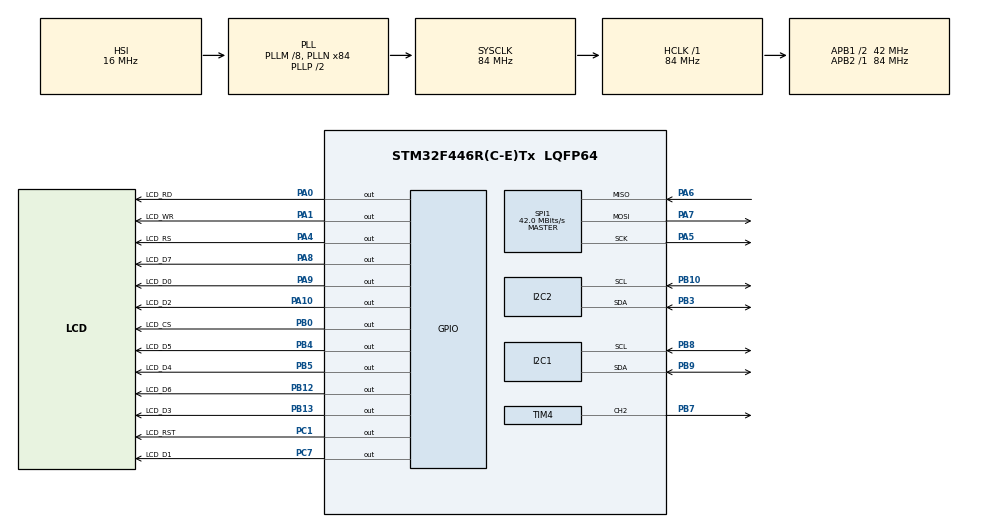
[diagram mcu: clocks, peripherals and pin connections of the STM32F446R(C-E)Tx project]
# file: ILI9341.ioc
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Dma.Request0=TIM4_CH2
Dma.TIM4_CH2.0.Direction=DMA_MEMORY_TO_PERIPH
Dma.TIM4_CH2.0.FIFOMode=DMA_FIFOMODE_DISABLE
Dma.TIM4_CH2.0.Instance=DMA1_Stream3
Dma.TIM4_CH2.0.MemDataAlignment=DMA_MDATAALIGN_HALFWORD
Dma.TIM4_CH2.0.MemInc=DMA_MINC_ENABLE
Dma.TIM4_CH2.0.Mode=DMA_NORMAL
Dma.TIM4_CH2.0.PeriphDataAlignment=DMA_PDATAALIGN_HALFWORD
Dma.TIM4_CH2.0.PeriphInc=DMA_PINC_DISABLE
Dma.TIM4_CH2.0.Priority=DMA_PRIORITY_LOW
I2C2.DualAddressMode=I2C_DUALADDRESS_DISABLE
I2C2.OwnAddress=0x09
Mcu.Family=STM32F4
Mcu.Name=STM32F446R(C-E)Tx
Mcu.Package=LQFP64
NVIC.DMA1_Stream3_IRQn=true\:0\:0\:false\:false\:true\:false\:true\:true
NVIC.I2C2_ER_IRQn=true\:0\:0\:false\:false\:true\:true\:true\:true
NVIC.I2C2_EV_IRQn=true\:0\:0\:false\:false\:true\:true\:true\:true
NVIC.PriorityGroup=NVIC_PRIORITYGROUP_4
PA0-WKUP.GPIO_Label=LCD_RD
PA0-WKUP.GPIO_Speed=GPIO_SPEED_FREQ_HIGH
PA0-WKUP.Signal=GPIO_Output
PA1.GPIO_Label=LCD_WR
PA1.GPIO_Speed=GPIO_SPEED_FREQ_HIGH
PA1.Signal=GPIO_Output
PA10.GPIO_Label=LCD_D2
PA10.GPIO_Speed=GPIO_SPEED_FREQ_HIGH
PA10.Signal=GPIO_Output
PA13.Mode=Serial_Wire
PA13.Signal=SYS_JTMS-SWDIO
PA14.Mode=Serial_Wire
PA14.Signal=SYS_JTCK-SWCLK
PA4.GPIO_Label=LCD_RS
PA4.GPIO_Speed=GPIO_SPEED_FREQ_HIGH
PA4.Signal=GPIO_Output
PA5.Mode=Full_Duplex_Master
PA5.Signal=SPI1_SCK
PA6.Mode=Full_Duplex_Master
PA6.Signal=SPI1_MISO
PA7.Mode=Full_Duplex_Master
PA7.Signal=SPI1_MOSI
PA8.GPIO_Label=LCD_D7
PA8.GPIO_Speed=GPIO_SPEED_FREQ_HIGH
PA8.Signal=GPIO_Output
PA9.GPIO_Label=LCD_D0
PA9.GPIO_Speed=GPIO_SPEED_FREQ_HIGH
PA9.Signal=GPIO_Output
PB0.GPIO_Label=LCD_CS
PB0.GPIO_Speed=GPIO_SPEED_FREQ_HIGH
PB0.Signal=GPIO_Output
PB10.GPIO_Pu=GPIO_PULLUP
PB10.GPIO_Speed=GPIO_SPEED_FREQ_VERY_HIGH
PB10.Mode=I2C
PB10.Signal=I2C2_SCL
PB12.GPIO_Label=LCD_D6
PB12.Signal=GPIO_Output
PB13.GPIO_Label=LCD_D3
PB13.Signal=GPIO_Output
PB3.GPIO_Pu=GPIO_PULLUP
PB3.GPIO_Speed=GPIO_SPEED_FREQ_VERY_HIGH
PB3.Mode=I2C
PB3.Signal=I2C2_SDA
PB4.GPIO_Label=LCD_D5
PB4.GPIO_Speed=GPIO_SPEED_FREQ_HIGH
PB4.Signal=GPIO_Output
PB5.GPIO_Label=LCD_D4
PB5.GPIO_Speed=GPIO_SPEED_FREQ_HIGH
PB5.Signal=GPIO_Output
PB7.Signal=S_TIM4_CH2
PB8.GPIO_Pu=GPIO_PULLUP
PB8.GPIO_Speed=GPIO_SPEED_FREQ_HIGH
PB8.Mode=I2C
PB8.Signal=I2C1_SCL
PB9.GPIO_Pu=GPIO_PULLUP
PB9.GPIO_Speed=GPIO_SPEED_FREQ_HIGH
PB9.Mode=I2C
PB9.Signal=I2C1_SDA
PC1.GPIO_Label=LCD_RST
PC1.GPIO_Speed=GPIO_SPEED_FREQ_HIGH
PC1.Signal=GPIO_Output
PC7.GPIO_Label=LCD_D1
PC7.GPIO_Speed=GPIO_SPEED_FREQ_HIGH
PC7.Signal=GPIO_Output
PH0-OSC_IN.Mode=HSE-External-Oscillator
PH0-OSC_IN.Signal=RCC_OSC_IN
PH1-OSC_OUT.Mode=HSE-External-Oscillator
PH1-OSC_OUT.Signal=RCC_OSC_OUT
ProjectManager.HeapSize=0x200
ProjectManager.StackSize=0x400
ProjectManager.TargetToolchain=STM32CubeIDE
RCC.AHBFreq_Value=84000000
RCC.APB1CLKDivider=RCC_HCLK_DIV2
RCC.APB1Freq_Value=42000000
RCC.APB1TimFreq_Value=84000000
RCC.APB2Freq_Value=84000000
RCC.APB2TimFreq_Value=84000000
RCC.CortexFreq_Value=84000000
RCC.HCLKFreq_Value=84000000
RCC.PLLM=8
RCC.PLLN=84
RCC.SYSCLKFreq_VALUE=84000000
RCC.SYSCLKSource=RCC_SYSCLKSOURCE_PLLCLK
RCC.USBFreq_Value=84000000
RCC.VCOOutputFreq_Value=168000000
SH.S_TIM4_CH2.0=TIM4_CH2,PWM Generation2 CH2
SPI1.CalculateBaudRate=42.0 MBits/s
SPI1.Direction=SPI_DIRECTION_2LINES
SPI1.Mode=SPI_MODE_MASTER
SPI1.VirtualType=VM_MASTER
TIM4.Channel-PWM\ Generation2\ CH2=TIM_CHANNEL_2
TIM4.Period=104
VP_TIM1_VS_ClockSourceINT.Mode=Internal
board=custom

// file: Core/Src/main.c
/* USER CODE BEGIN Header */
/**
 ******************************************************************************
 * @file           : main.c
 * @brief          : Main program body
 ******************************************************************************
 * @attention
 *
 * Copyright (c) 2024 STMicroelectronics.
 * All rights reserved.
 *
 * This software is licensed under terms that can be found in the LICENSE file
 * in the root directory of this software component.
 * If no LICENSE file comes with this software, it is provided AS-IS.
 *
 ******************************************************************************
 */
/* USER CODE END Header */
#include "main.h"

/* USER CODE BEGIN Includes */
#include "ili9341.h"
#include "Bitmaps.h"

#include "parqueo.h"
#include "mpr121.h"

#include "neopixel.h"
/* USER CODE END Includes */

/* USER CODE BEGIN PD */

#define PARQUEO_MODO_DEMO 0

/* USER CODE END PD */

I2C_HandleTypeDef hi2c1;
I2C_HandleTypeDef hi2c2;

SPI_HandleTypeDef hspi1;

TIM_HandleTypeDef htim1;
TIM_HandleTypeDef htim4;
DMA_HandleTypeDef hdma_tim4_ch2;

/* USER CODE BEGIN PV */
extern uint16_t fondo[];

extern uint16_t fondoPinguin[];

uint32_t ultimo_sensor = 0;

uint8_t estables[4] = {0};
uint8_t consecutivas[4] = {0};

volatile uint8_t mpr_direccion = 0;
volatile uint8_t mpr_init = 255;
volatile uint8_t mpr_bits = 0;
volatile uint8_t mpr_ecr = 0;

volatile uint32_t mpr_ok = 0;
volatile uint32_t mpr_fallos = 0;
volatile uint32_t mpr_error = 0;

volatile uint8_t prueba_etapa = 0;

volatile uint8_t resultado_scan[4] = {
    255, 255, 255, 255
};

volatile uint32_t error_scan[4] = {0};

volatile uint32_t estado_i2c = 0;

/* ==========================================
 * COMUNICACION I2C2 CON ESP32 MAESTRO
 * Direccion del TFT: 0x09
 * ========================================== */

// Mis cuatro sensores MPR121: P5-P8
volatile uint8_t grupoB_local = 0x00;

// Datos recibidos del ESP32: P1-P4
volatile uint8_t grupoA_recibido = 0x00;

// Banderas de comunicacion
volatile uint8_t i2c2_rx_valido = 0;
volatile uint8_t i2c2_rearmar = 0;

// Buffers de transmision y recepcion
static uint8_t i2c2_tx_byte = 0x00;
static uint8_t i2c2_rx_byte = 0x00;

// Variables de diagnostico
volatile uint32_t i2c2_error = 0;
volatile uint32_t i2c2_tx_count = 0;
volatile uint32_t i2c2_rx_count = 0;

volatile uint32_t i2c2_listen_status = 0xFFFFFFFF;

/* USER CODE END PV */

void SystemClock_Config(void);
static void MX_GPIO_Init(void);
static void MX_DMA_Init(void);
static void MX_SPI1_Init(void);
static void MX_I2C1_Init(void);
static void MX_TIM1_Init(void);
static void MX_TIM4_Init(void);
static void MX_I2C2_Init(void);

int main(void)
{

  /* MCU Configuration--------------------------------------------------------*/

  /* Reset of all peripherals, Initializes the Flash interface and the Systick. */
  HAL_Init();

  /* Configure the system clock */
  SystemClock_Config();

  /* Initialize all configured peripherals */
  MX_GPIO_Init();
  MX_DMA_Init();
  MX_SPI1_Init();
  MX_I2C1_Init();
  MX_TIM1_Init();
  MX_TIM4_Init();
  MX_I2C2_Init();
  /* USER CODE BEGIN 2 */

  HAL_Delay(200);

  // Escaneo I2C solo para verificar que el sensor está presente
  for (uint8_t i = 0; i < 4; i++)
  {
      uint8_t addr = 0x5A + i;

      HAL_StatusTypeDef estado =
          HAL_I2C_IsDeviceReady(&hi2c1, addr << 1, 2, 100);

      resultado_scan[i] = estado;
      error_scan[i] = HAL_I2C_GetError(&hi2c1);

      if (estado == HAL_OK)
      {
          mpr_direccion = addr;
          break;
      }
  }

  estado_i2c = HAL_I2C_GetState(&hi2c1);

  // Inicializar MPR121 si fue encontrado
  if (mpr_direccion == 0x5A)
  {
      mpr_init = MPR121_Init(&hi2c1);
  }
  else
  {
      mpr_init = 254;   // no encontrado
  }

  LCD_Init();
  Parqueo_Init(0);
  NeoPixel_Init();

  // Activar I2C2 como esclavo del ESP32
  i2c2_listen_status = HAL_I2C_EnableListen_IT(&hi2c2);

  if (i2c2_listen_status != HAL_OK)
  {
      i2c2_error = HAL_I2C_GetError(&hi2c2);
      Error_Handler();
  }

  HAL_Delay(200);

  // Escaneo I2C solo para verificar que el sensor está presente
  for (uint8_t i = 0; i < 4; i++)
  {
      uint8_t addr = 0x5A + i;

      HAL_StatusTypeDef estado =
          HAL_I2C_IsDeviceReady(&hi2c1, addr << 1, 2, 100);

      resultado_scan[i] = estado;
      error_scan[i] = HAL_I2C_GetError(&hi2c1);

      if (estado == HAL_OK)
      {
          mpr_direccion = addr;
          break;
      }
  }

  estado_i2c = HAL_I2C_GetState(&hi2c1);

  // Inicializar MPR121 si fue encontrado
  if (mpr_direccion == 0x5A)
  {
      mpr_init = MPR121_Init(&hi2c1);
  }
  else
  {
      mpr_init = 254;   // no encontrado
  }

  LCD_Init();
  Parqueo_Init(0);
  NeoPixel_Init();
//  NeoPixel_SetEstado(1, 1);
//  NeoPixel_SetEstado(2, 1);
//  NeoPixel_SetEstado(3, 1);
//  NeoPixel_SetEstado(4, 1);

  /* USER CODE END 2 */

  /* Infinite loop */
  /* USER CODE BEGIN WHILE */
	while (1) {

		 // Recuperar escucha I2C2 si ocurrió un error
		    if (i2c2_rearmar)
		    {
		        i2c2_rearmar = 0;

		        i2c2_listen_status = HAL_I2C_EnableListen_IT(&hi2c2);

		        if (i2c2_listen_status != HAL_OK)
		        {
		            i2c2_rearmar = 1;
		        }
		    }

		    // Leer sensores locales del MPR121
		    if (mpr_init == HAL_OK && HAL_GetTick() - ultimo_sensor >= 50)
		Parqueo_Update();
		    HAL_Delay(10);

		if (mpr_init == HAL_OK && HAL_GetTick() - ultimo_sensor >= 50)
		    {
		        ultimo_sensor = HAL_GetTick();

		        uint8_t lectura = 0;

		        if (MPR121_Leer4(&hi2c1, &lectura) == HAL_OK)
		        {
		            mpr_bits = lectura;
		            mpr_ok++;

		            // Guardar los cuatro sensores locales P5-P8
		            grupoB_local = lectura & 0x0F;
		            for (uint8_t i = 0; i < 4; i++)
		            {
		                uint8_t nuevo = (lectura >> i) & 1;
		                Parqueo_SetOcupado(i + 1, nuevo);
		            }
		        }
		        else
		        {
		            mpr_fallos++;
		            mpr_ecr = HAL_I2C_GetError(&hi2c1);
		        }
		    }

		    // Actualizar los ocho parqueos
		    Parqueo_ActualizarGrupos(grupoA_recibido, grupoB_local);

		    // Actualizar pantalla y NeoPixels
		    Parqueo_Update();
		    NeoPixel_Update();

		    Parqueo_Update();

		    NeoPixel_Update();
		    HAL_Delay(10);

    /* USER CODE END WHILE */

    /* USER CODE BEGIN 3 */

//
//				for (int x = 0; x < 319-42; x++) {
//					int anim = (x/10)%4;
//					// anim 0 1 2 3
//					LCD_Sprite(x, 116-29, 42, 29, link, 4, anim, 0, 0);
//					//V_line( x -1, 100, 50, 0x0DFE);
//					HAL_Delay(15);
//
//				}
//				for (int var = 319-24; var > 0;  var--) {
//					int anim = (var / 10) % 4;
//					LCD_Sprite(var, 100, 24, 30, sonics, 4, anim, 1, 0);
//					V_line(var + 24, 100, 30, 0x0DFE);
//					HAL_Delay(15);
//				}
//
//		for (int x = 0; x < 319-24; x++) {
//			int anim = (x/10)%4;
//			// anim 0 1 2 3
//			LCD_Sprite(x, 100, 24, 30, sonics, 4, anim, 0, 0);
//			V_line( x -1, 100, 30, 0x0DFE);
//			HAL_Delay(15);
//
//		}
//		for (int var = 319-24; var > 0;  var--) {
//			int anim = (var / 10) % 4;
//			LCD_Sprite(var, 100, 24, 30, sonics, 4, anim, 1, 0);
//			V_line(var + 24, 100, 30, 0x0DFE);
//			HAL_Delay(15);
//		}

//		for (int var = 0; var < 319-26;  var++) {
//			 int anim = (var / 5) % 4;
//			LCD_Sprite(var,100,26,16,link,4,anim,0,0);
//			V_line( var -1, 100, 16, 0x4d9e);
//			 HAL_Delay(15);
//		}
//		for (int var = 319-26; var > 0;  var--) {
//					 int anim = (var / 5) % 4;
//					LCD_Sprite(var,100,26,16,link,4,anim,1,0);
//					V_line( var +27, 100, 16, 0x4d9e);
//					 HAL_Delay(15);
//				}
//
//		for (int x = 0; x < 320 - 16; x++) {
//		    int anim2 = (x / 10) % 4;
//		    LCD_Sprite(x,100,16,16,kirbys,4,anim2,0,0);
//		    V_line( x -1, 100, 16, 0x74DA);
//		    HAL_Delay(15);
//		  }
//		  for (int x = 320-16; x > 0; x--) {
//		    int anim2 = (x / 10) % 4;
//		    LCD_Sprite(x,100,16,16,kirbys,4,anim2,1,0);
//		    V_line( x +16, 100, 16, 0x74DA);
//		    HAL_Delay(15);
//		  }

	}
  /* USER CODE END 3 */
}

void SystemClock_Config(void)
{
  RCC_OscInitTypeDef RCC_OscInitStruct = {0};
  RCC_ClkInitTypeDef RCC_ClkInitStruct = {0};

  /** Configure the main internal regulator output voltage
  */
  __HAL_RCC_PWR_CLK_ENABLE();
  __HAL_PWR_VOLTAGESCALING_CONFIG(PWR_REGULATOR_VOLTAGE_SCALE3);

  /** Initializes the RCC Oscillators according to the specified parameters
  * in the RCC_OscInitTypeDef structure.
  */
  RCC_OscInitStruct.OscillatorType = RCC_OSCILLATORTYPE_HSI;
  RCC_OscInitStruct.HSIState = RCC_HSI_ON;
  RCC_OscInitStruct.HSICalibrationValue = RCC_HSICALIBRATION_DEFAULT;
  RCC_OscInitStruct.PLL.PLLState = RCC_PLL_ON;
  RCC_OscInitStruct.PLL.PLLSource = RCC_PLLSOURCE_HSI;
  RCC_OscInitStruct.PLL.PLLM = 8;
  RCC_OscInitStruct.PLL.PLLN = 84;
  RCC_OscInitStruct.PLL.PLLP = RCC_PLLP_DIV2;
  RCC_OscInitStruct.PLL.PLLQ = 2;
  RCC_OscInitStruct.PLL.PLLR = 2;
  if (HAL_RCC_OscConfig(&RCC_OscInitStruct) != HAL_OK)
  {
    Error_Handler();
  }

  /** Initializes the CPU, AHB and APB buses clocks
  */
  RCC_ClkInitStruct.ClockType = RCC_CLOCKTYPE_HCLK|RCC_CLOCKTYPE_SYSCLK
                              |RCC_CLOCKTYPE_PCLK1|RCC_CLOCKTYPE_PCLK2;
  RCC_ClkInitStruct.SYSCLKSource = RCC_SYSCLKSOURCE_PLLCLK;
  RCC_ClkInitStruct.AHBCLKDivider = RCC_SYSCLK_DIV1;
  RCC_ClkInitStruct.APB1CLKDivider = RCC_HCLK_DIV2;
  RCC_ClkInitStruct.APB2CLKDivider = RCC_HCLK_DIV1;

  if (HAL_RCC_ClockConfig(&RCC_ClkInitStruct, FLASH_LATENCY_2) != HAL_OK)
  {
    Error_Handler();
  }
}

static void MX_I2C1_Init(void)
{

  hi2c1.Instance = I2C1;
  hi2c1.Init.ClockSpeed = 100000;
  hi2c1.Init.DutyCycle = I2C_DUTYCYCLE_2;
  hi2c1.Init.OwnAddress1 = 0;
  hi2c1.Init.AddressingMode = I2C_ADDRESSINGMODE_7BIT;
  hi2c1.Init.DualAddressMode = I2C_DUALADDRESS_DISABLE;
  hi2c1.Init.OwnAddress2 = 0;
  hi2c1.Init.GeneralCallMode = I2C_GENERALCALL_DISABLE;
  hi2c1.Init.NoStretchMode = I2C_NOSTRETCH_DISABLE;
  if (HAL_I2C_Init(&hi2c1) != HAL_OK)
  {
    Error_Handler();
  }

}

static void MX_I2C2_Init(void)
{

  hi2c2.Instance = I2C2;
  hi2c2.Init.ClockSpeed = 100000;
  hi2c2.Init.DutyCycle = I2C_DUTYCYCLE_2;
  hi2c2.Init.OwnAddress1 = 18;
  hi2c2.Init.AddressingMode = I2C_ADDRESSINGMODE_7BIT;
  hi2c2.Init.DualAddressMode = I2C_DUALADDRESS_DISABLE;
  hi2c2.Init.OwnAddress2 = 0;
  hi2c2.Init.GeneralCallMode = I2C_GENERALCALL_DISABLE;
  hi2c2.Init.NoStretchMode = I2C_NOSTRETCH_DISABLE;
  if (HAL_I2C_Init(&hi2c2) != HAL_OK)
  {
    Error_Handler();
  }

}

static void MX_SPI1_Init(void)
{

  /* SPI1 parameter configuration*/
  hspi1.Instance = SPI1;
  hspi1.Init.Mode = SPI_MODE_MASTER;
  hspi1.Init.Direction = SPI_DIRECTION_2LINES;
  hspi1.Init.DataSize = SPI_DATASIZE_8BIT;
  hspi1.Init.CLKPolarity = SPI_POLARITY_LOW;
  hspi1.Init.CLKPhase = SPI_PHASE_1EDGE;
  hspi1.Init.NSS = SPI_NSS_SOFT;
  hspi1.Init.BaudRatePrescaler = SPI_BAUDRATEPRESCALER_2;
  hspi1.Init.FirstBit = SPI_FIRSTBIT_MSB;
  hspi1.Init.TIMode = SPI_TIMODE_DISABLE;
  hspi1.Init.CRCCalculation = SPI_CRCCALCULATION_DISABLE;
  hspi1.Init.CRCPolynomial = 10;
  if (HAL_SPI_Init(&hspi1) != HAL_OK)
  {
    Error_Handler();
  }

}

static void MX_TIM1_Init(void)
{

  TIM_ClockConfigTypeDef sClockSourceConfig = {0};
  TIM_MasterConfigTypeDef sMasterConfig = {0};

  htim1.Instance = TIM1;
  htim1.Init.Prescaler = 0;
  htim1.Init.CounterMode = TIM_COUNTERMODE_UP;
  htim1.Init.Period = 65535;
  htim1.Init.ClockDivision = TIM_CLOCKDIVISION_DIV1;
  htim1.Init.RepetitionCounter = 0;
  htim1.Init.AutoReloadPreload = TIM_AUTORELOAD_PRELOAD_DISABLE;
  if (HAL_TIM_Base_Init(&htim1) != HAL_OK)
  {
    Error_Handler();
  }
  sClockSourceConfig.ClockSource = TIM_CLOCKSOURCE_INTERNAL;
  if (HAL_TIM_ConfigClockSource(&htim1, &sClockSourceConfig) != HAL_OK)
  {
    Error_Handler();
  }
  sMasterConfig.MasterOutputTrigger = TIM_TRGO_RESET;
  sMasterConfig.MasterSlaveMode = TIM_MASTERSLAVEMODE_DISABLE;
  if (HAL_TIMEx_MasterConfigSynchronization(&htim1, &sMasterConfig) != HAL_OK)
  {
    Error_Handler();
  }

}

static void MX_TIM4_Init(void)
{

  TIM_MasterConfigTypeDef sMasterConfig = {0};
  TIM_OC_InitTypeDef sConfigOC = {0};

  htim4.Instance = TIM4;
  htim4.Init.Prescaler = 0;
  htim4.Init.CounterMode = TIM_COUNTERMODE_UP;
  htim4.Init.Period = 104;
  htim4.Init.ClockDivision = TIM_CLOCKDIVISION_DIV1;
  htim4.Init.AutoReloadPreload = TIM_AUTORELOAD_PRELOAD_DISABLE;
  if (HAL_TIM_PWM_Init(&htim4) != HAL_OK)
  {
    Error_Handler();
  }
  sMasterConfig.MasterOutputTrigger = TIM_TRGO_RESET;
  sMasterConfig.MasterSlaveMode = TIM_MASTERSLAVEMODE_DISABLE;
  if (HAL_TIMEx_MasterConfigSynchronization(&htim4, &sMasterConfig) != HAL_OK)
  {
    Error_Handler();
  }
  sConfigOC.OCMode = TIM_OCMODE_PWM1;
  sConfigOC.Pulse = 0;
  sConfigOC.OCPolarity = TIM_OCPOLARITY_HIGH;
  sConfigOC.OCFastMode = TIM_OCFAST_DISABLE;
  if (HAL_TIM_PWM_ConfigChannel(&htim4, &sConfigOC, TIM_CHANNEL_2) != HAL_OK)
  {
    Error_Handler();
  }
  HAL_TIM_MspPostInit(&htim4);

}

static void MX_DMA_Init(void)
{

  /* DMA controller clock enable */
  __HAL_RCC_DMA1_CLK_ENABLE();

  /* DMA interrupt init */
  /* DMA1_Stream3_IRQn interrupt configuration */
  HAL_NVIC_SetPriority(DMA1_Stream3_IRQn, 0, 0);
  HAL_NVIC_EnableIRQ(DMA1_Stream3_IRQn);

}

static void MX_GPIO_Init(void)
{
  GPIO_InitTypeDef GPIO_InitStruct = {0};

  /* GPIO Ports Clock Enable */
  __HAL_RCC_GPIOH_CLK_ENABLE();
  __HAL_RCC_GPIOC_CLK_ENABLE();
  __HAL_RCC_GPIOA_CLK_ENABLE();
  __HAL_RCC_GPIOB_CLK_ENABLE();

  /*Configure GPIO pin Output Level */
  HAL_GPIO_WritePin(GPIOC, LCD_RST_Pin|LCD_D1_Pin, GPIO_PIN_RESET);

  /*Configure GPIO pin Output Level */
  HAL_GPIO_WritePin(GPIOA, LCD_RD_Pin|LCD_WR_Pin|LCD_RS_Pin|LCD_D7_Pin
                          |LCD_D0_Pin|LCD_D2_Pin, GPIO_PIN_RESET);

  /*Configure GPIO pin Output Level */
  HAL_GPIO_WritePin(GPIOB, LCD_CS_Pin|LCD_D6_Pin|LCD_D3_Pin|LCD_D5_Pin
                          |LCD_D4_Pin, GPIO_PIN_RESET);

  /*Configure GPIO pins : LCD_RST_Pin LCD_D1_Pin */
  GPIO_InitStruct.Pin = LCD_RST_Pin|LCD_D1_Pin;
  GPIO_InitStruct.Mode = GPIO_MODE_OUTPUT_PP;
  GPIO_InitStruct.Pull = GPIO_NOPULL;
  GPIO_InitStruct.Speed = GPIO_SPEED_FREQ_HIGH;
  HAL_GPIO_Init(GPIOC, &GPIO_InitStruct);

  /*Configure GPIO pins : LCD_RD_Pin LCD_WR_Pin LCD_RS_Pin LCD_D7_Pin
                           LCD_D0_Pin LCD_D2_Pin */
  GPIO_InitStruct.Pin = LCD_RD_Pin|LCD_WR_Pin|LCD_RS_Pin|LCD_D7_Pin
                          |LCD_D0_Pin|LCD_D2_Pin;
  GPIO_InitStruct.Mode = GPIO_MODE_OUTPUT_PP;
  GPIO_InitStruct.Pull = GPIO_NOPULL;
  GPIO_InitStruct.Speed = GPIO_SPEED_FREQ_HIGH;
  HAL_GPIO_Init(GPIOA, &GPIO_InitStruct);

  /*Configure GPIO pins : LCD_CS_Pin LCD_D5_Pin LCD_D4_Pin */
  GPIO_InitStruct.Pin = LCD_CS_Pin|LCD_D5_Pin|LCD_D4_Pin;
  GPIO_InitStruct.Mode = GPIO_MODE_OUTPUT_PP;
  GPIO_InitStruct.Pull = GPIO_NOPULL;
  GPIO_InitStruct.Speed = GPIO_SPEED_FREQ_HIGH;
  HAL_GPIO_Init(GPIOB, &GPIO_InitStruct);

  /*Configure GPIO pins : LCD_D6_Pin LCD_D3_Pin */
  GPIO_InitStruct.Pin = LCD_D6_Pin|LCD_D3_Pin;
  GPIO_InitStruct.Mode = GPIO_MODE_OUTPUT_PP;
  GPIO_InitStruct.Pull = GPIO_NOPULL;
  GPIO_InitStruct.Speed = GPIO_SPEED_FREQ_LOW;
  HAL_GPIO_Init(GPIOB, &GPIO_InitStruct);

}

/* USER CODE BEGIN 4 */

/* ==========================================
 * CALLBACKS I2C2 - STM32 TFT
 * ESP32 MAESTRO / STM32 ESCLAVO 0x09
 * ========================================== */

void HAL_I2C_AddrCallback(I2C_HandleTypeDef *hi2c,
                          uint8_t TransferDirection,
                          uint16_t AddrMatchCode)
{
    (void)AddrMatchCode;

    if (hi2c->Instance != I2C2)
        return;

    if (TransferDirection == I2C_DIRECTION_RECEIVE)
    {
        // ESP32 quiere LEER:
        // Enviar los cuatro sensores locales P5-P8

        i2c2_tx_byte = grupoB_local & 0x0F;

        if (HAL_I2C_Slave_Seq_Transmit_IT(
                hi2c,
                &i2c2_tx_byte,
                1,
                I2C_FIRST_AND_LAST_FRAME) != HAL_OK)
        {
            i2c2_error = HAL_I2C_GetError(hi2c);
        }
    }
    else
    {
        // ESP32 quiere ESCRIBIR:
        // Recibir los sensores P1-P4

        if (HAL_I2C_Slave_Seq_Receive_IT(
                hi2c,
                &i2c2_rx_byte,
                1,
                I2C_FIRST_AND_LAST_FRAME) != HAL_OK)
        {
            i2c2_error = HAL_I2C_GetError(hi2c);
        }
    }
}

/* Transmision completada */
void HAL_I2C_SlaveTxCpltCallback(I2C_HandleTypeDef *hi2c)
{
    if (hi2c->Instance == I2C2)
    {
        i2c2_tx_count++;
    }
}

/* Recepcion completada */
void HAL_I2C_SlaveRxCpltCallback(I2C_HandleTypeDef *hi2c)
{
    if (hi2c->Instance == I2C2)
    {
        // Guardar los cuatro bits recibidos
        grupoA_recibido = i2c2_rx_byte & 0x0F;

        i2c2_rx_valido = 1;

        i2c2_rx_count++;
    }
}

/* Transaccion terminada: volver a escuchar */
void HAL_I2C_ListenCpltCallback(I2C_HandleTypeDef *hi2c)
{
    if (hi2c->Instance == I2C2)
    {
        i2c2_listen_status = HAL_I2C_EnableListen_IT(hi2c);

        if (i2c2_listen_status != HAL_OK)
        {
            i2c2_rearmar = 1;
        }
    }
}

/* Manejo de errores */
void HAL_I2C_ErrorCallback(I2C_HandleTypeDef *hi2c)
{
    if (hi2c->Instance == I2C2)
    {
        i2c2_error = hi2c->ErrorCode;

        i2c2_rearmar = 1;
    }
}

/* USER CODE END 4 */

void Error_Handler(void)
{
	__disable_irq();
	while (1) {
	}
}
